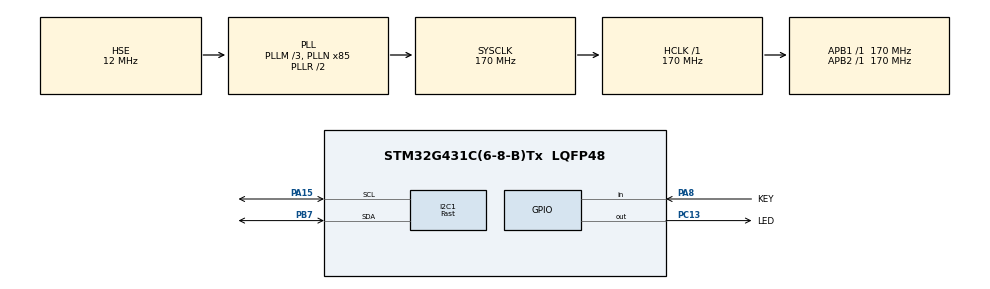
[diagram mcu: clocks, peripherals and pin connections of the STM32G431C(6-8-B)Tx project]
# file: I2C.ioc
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I2C1.AddressingMode=I2C_ADDRESSINGMODE_10BIT
I2C1.Analog_Filter=I2C_ANALOGFILTER_ENABLE
I2C1.CustomTiming=Disabled
I2C1.DualAddressMode=I2C_DUALADDRESS_DISABLE
I2C1.GeneralCallMode=I2C_GENERALCALL_DISABLE
I2C1.I2C_Coeff_DF=0
I2C1.I2C_Fall_Time=0
I2C1.I2C_Rise_Time=0
I2C1.I2C_Speed_Mode=I2C_Fast
I2C1.NoStretchMode=I2C_NOSTRETCH_DISABLE
I2C1.OwnAddress=I2C_ADDRESS
I2C1.Speed=400
I2C1.Timing=0x10802D9B
Mcu.Family=STM32G4
Mcu.Name=STM32G431C(6-8-B)Tx
Mcu.Package=LQFP48
Mcu.UserConstants=I2C_ADDRESS,0x30F
NVIC.PriorityGroup=NVIC_PRIORITYGROUP_4
PA13.Mode=Serial_Wire
PA13.Signal=SYS_JTMS-SWDIO
PA14.Mode=Serial_Wire
PA14.Signal=SYS_JTCK-SWCLK
PA15.GPIO_Pu=GPIO_PULLUP
PA15.Mode=I2C
PA15.Signal=I2C1_SCL
PA8.GPIO_Label=KEY
PA8.GPIO_PuPd=GPIO_PULLUP
PA8.Signal=GPIO_Input
PB7.GPIO_Pu=GPIO_PULLUP
PB7.Mode=I2C
PB7.Signal=I2C1_SDA
PC13.GPIO_Label=LED
PC13.PinState=GPIO_PIN_SET
PC13.Signal=GPIO_Output
PF0-OSC_IN.Mode=HSE-External-Oscillator
PF0-OSC_IN.Signal=RCC_OSC_IN
PF1-OSC_OUT.Mode=HSE-External-Oscillator
PF1-OSC_OUT.Signal=RCC_OSC_OUT
ProjectManager.HeapSize=0x200
ProjectManager.StackSize=0x400
ProjectManager.TargetToolchain=MDK-ARM V5.32
RCC.ADC12Freq_Value=170000000
RCC.AHBFreq_Value=170000000
RCC.APB1Freq_Value=170000000
RCC.APB1TimFreq_Value=170000000
RCC.APB2Freq_Value=170000000
RCC.APB2TimFreq_Value=170000000
RCC.CortexFreq_Value=170000000
RCC.EXTERNAL_CLOCK_VALUE=12288000
RCC.FLatency=FLASH_LATENCY_4
RCC.HCLKFreq_Value=170000000
RCC.HSE_VALUE=12000000
RCC.HSI48_VALUE=48000000
RCC.HSI_VALUE=16000000
RCC.LSE_VALUE=32768
RCC.PLLM=RCC_PLLM_DIV3
RCC.PLLN=85
RCC.PLLSourceVirtual=RCC_PLLSOURCE_HSE
RCC.SYSCLKFreq_VALUE=170000000
RCC.SYSCLKSource=RCC_SYSCLKSOURCE_PLLCLK
RCC.USBFreq_Value=170000000
RCC.VCOOutputFreq_Value=340000000
VP_SYS_VS_DBSignals.Mode=DisableDeadBatterySignals
board=custom

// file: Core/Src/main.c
/* USER CODE BEGIN Header */
/**
  ******************************************************************************
  * @file           : main.c
  * @brief          : Main program body
  ******************************************************************************
  * @attention
  *
  * Copyright (c) 2022 STMicroelectronics.
  * All rights reserved.
  *
  * This software is licensed under terms that can be found in the LICENSE file
  * in the root directory of this software component.
  * If no LICENSE file comes with this software, it is provided AS-IS.
  *
  ******************************************************************************
  */
/* USER CODE END Header */
#include "main.h"
#include "i2c.h"
#include "gpio.h"

/* USER CODE BEGIN PD */
#define MASTER_BOARD

#define I2C_ADDRESS 0x30F

#define COUNTOF(__BUFFER__)   (sizeof(__BUFFER__) / sizeof(*(__BUFFER__)))

/* Size of Transmission buffer */
#define TXBUFFERSIZE                      (COUNTOF(aTxBuffer) - 1)
/* Size of Reception buffer */
#define RXBUFFERSIZE                      TXBUFFERSIZE

/* USER CODE END PD */

/* USER CODE BEGIN PV */
/* Buffer used for transmission */
uint8_t aTxBuffer[] = " ****I2C_TwoBoards communication based on Polling****  ****I2C_TwoBoards communication based on Polling****  ****I2C_TwoBoards communication based on Polling**** ";

/* Buffer used for reception */
uint8_t aRxBuffer[RXBUFFERSIZE];

/* USER CODE END PV */

void SystemClock_Config(void);
/* USER CODE BEGIN PFP */
static uint16_t Buffercmp(uint8_t *pBuffer1, uint8_t *pBuffer2, uint16_t BufferLength);

/* USER CODE END PFP */

int main(void)
{

  /* MCU Configuration--------------------------------------------------------*/

  /* Reset of all peripherals, Initializes the Flash interface and the Systick. */
  HAL_Init();

  /* Configure the system clock */
  SystemClock_Config();

  /* Initialize all configured peripherals */
  MX_GPIO_Init();
  MX_I2C1_Init();
  /* USER CODE BEGIN 2 */

#ifdef MASTER_BOARD

  /* Wait for User push-button press before starting the Communication */
  while (HAL_GPIO_ReadPin(KEY_GPIO_Port, KEY_Pin) != GPIO_PIN_RESET)
	{
  }

  /* Delay to avoid that possible signal rebound is taken as button release */
  HAL_Delay(50);

  /* Wait for User push-button release before starting the Communication */
  while (HAL_GPIO_ReadPin(KEY_GPIO_Port, KEY_Pin) != GPIO_PIN_SET)
  {
  }

  /* The board sends the message and expects to receive it back */

  /*##- Start the transmission process #####################################*/
  /* While the I2C in reception process, user can transmit data through
     "aTxBuffer" buffer */
  /* Timeout is set to 10S */
  while (HAL_I2C_Master_Transmit(&hi2c1, (uint16_t)I2C_ADDRESS, (uint8_t *)aTxBuffer, TXBUFFERSIZE, 10000) != HAL_OK)
  {
    /* Error_Handler() function is called when Timeout error occurs.
       When Acknowledge failure occurs (Slave don't acknowledge its address)
       Master restarts communication */
    if (HAL_I2C_GetError(&hi2c1) != HAL_I2C_ERROR_AF)
    {
      Error_Handler();
    }
  }

  /* Turn LED on: Transfer in Transmission process is correct */
  HAL_GPIO_WritePin(LED_GPIO_Port, LED_Pin, GPIO_PIN_RESET);

  /* Wait for User push-button press before starting the Communication */
  while (HAL_GPIO_ReadPin(KEY_GPIO_Port, KEY_Pin) != GPIO_PIN_RESET)
  {
  }

  /* Delay to avoid that possible signal rebound is taken as button release */
  HAL_Delay(50);

  /* Wait for User push-button release before starting the Communication */
  while (HAL_GPIO_ReadPin(KEY_GPIO_Port, KEY_Pin) != GPIO_PIN_SET)
  {
  }

  /*##- Put I2C peripheral in reception process ############################*/
  /* Timeout is set to 10S */
  while (HAL_I2C_Master_Receive(&hi2c1, (uint16_t)I2C_ADDRESS, (uint8_t *)aRxBuffer, RXBUFFERSIZE, 10000) != HAL_OK)
  {
    /* Error_Handler() function is called when Timeout error occurs.
       When Acknowledge failure occurs (Slave don't acknowledge it's address)
       Master restarts communication */
    if (HAL_I2C_GetError(&hi2c1) != HAL_I2C_ERROR_AF)
    {
      Error_Handler();
    }
  }

  /* Turn LED off: Transfer in reception process is correct */
  HAL_GPIO_WritePin(LED_GPIO_Port, LED_Pin, GPIO_PIN_SET);

#else

  /* The board receives the message and sends it back */

  /*##- Put I2C peripheral in reception process ###########################*/
  /* Timeout is set to 10S  */
  if (HAL_I2C_Slave_Receive(&hi2c1, (uint8_t *)aRxBuffer, RXBUFFERSIZE, 10000) != HAL_OK)
  {
    /* Transfer error in reception process */
    Error_Handler();
  }

  /* Turn LED on: Transfer in reception process is correct */
	HAL_GPIO_WritePin(LED_GPIO_Port, LED_Pin, GPIO_PIN_RESET);

  /*##- Start the transmission process #####################################*/
  /* While the I2C in reception process, user can transmit data through
     "aTxBuffer" buffer */
  /* Timeout is set to 10S */
  if (HAL_I2C_Slave_Transmit(&hi2c1, (uint8_t *)aTxBuffer, TXBUFFERSIZE, 10000) != HAL_OK)
  {
    /* Transfer error in transmission process */
    Error_Handler();
  }

  /* Turn LED off: Transfer in transmission process is correct */
  HAL_GPIO_WritePin(LED_GPIO_Port, LED_Pin, GPIO_PIN_SET);

#endif /* MASTER_BOARD */

  /*##- Compare the sent and received buffers ##############################*/
  if (Buffercmp((uint8_t *)aTxBuffer, (uint8_t *)aRxBuffer, RXBUFFERSIZE))
  {
    /* Processing Error */
    Error_Handler();
  }
  /* USER CODE END 2 */

  /* Infinite loop */
  while (1)
  {

  }
}

void SystemClock_Config(void)
{
  RCC_OscInitTypeDef RCC_OscInitStruct = {0};
  RCC_ClkInitTypeDef RCC_ClkInitStruct = {0};

  /** Configure the main internal regulator output voltage
  */
  HAL_PWREx_ControlVoltageScaling(PWR_REGULATOR_VOLTAGE_SCALE1_BOOST);

  /** Initializes the RCC Oscillators according to the specified parameters
  * in the RCC_OscInitTypeDef structure.
  */
  RCC_OscInitStruct.OscillatorType = RCC_OSCILLATORTYPE_HSE;
  RCC_OscInitStruct.HSEState = RCC_HSE_ON;
  RCC_OscInitStruct.PLL.PLLState = RCC_PLL_ON;
  RCC_OscInitStruct.PLL.PLLSource = RCC_PLLSOURCE_HSE;
  RCC_OscInitStruct.PLL.PLLM = RCC_PLLM_DIV3;
  RCC_OscInitStruct.PLL.PLLN = 85;
  RCC_OscInitStruct.PLL.PLLP = RCC_PLLP_DIV2;
  RCC_OscInitStruct.PLL.PLLQ = RCC_PLLQ_DIV2;
  RCC_OscInitStruct.PLL.PLLR = RCC_PLLR_DIV2;
  if (HAL_RCC_OscConfig(&RCC_OscInitStruct) != HAL_OK)
  {
    Error_Handler();
  }

  /** Initializes the CPU, AHB and APB buses clocks
  */
  RCC_ClkInitStruct.ClockType = RCC_CLOCKTYPE_HCLK|RCC_CLOCKTYPE_SYSCLK
                              |RCC_CLOCKTYPE_PCLK1|RCC_CLOCKTYPE_PCLK2;
  RCC_ClkInitStruct.SYSCLKSource = RCC_SYSCLKSOURCE_PLLCLK;
  RCC_ClkInitStruct.AHBCLKDivider = RCC_SYSCLK_DIV1;
  RCC_ClkInitStruct.APB1CLKDivider = RCC_HCLK_DIV1;
  RCC_ClkInitStruct.APB2CLKDivider = RCC_HCLK_DIV1;

  if (HAL_RCC_ClockConfig(&RCC_ClkInitStruct, FLASH_LATENCY_4) != HAL_OK)
  {
    Error_Handler();
  }
}

/* USER CODE BEGIN 4 */
/**
  * @brief  Compares two buffers.
  * @param  pBuffer1, pBuffer2: buffers to be compared.
  * @param  BufferLength: buffer's length
  * @retval 0  : pBuffer1 identical to pBuffer2
  *         >0 : pBuffer1 differs from pBuffer2
  */
static uint16_t Buffercmp(uint8_t *pBuffer1, uint8_t *pBuffer2, uint16_t BufferLength)
{
  while (BufferLength--)
  {
    if ((*pBuffer1) != *pBuffer2)
    {
      return BufferLength;
    }
    pBuffer1++;
    pBuffer2++;
  }

  return 0;
}
/* USER CODE END 4 */

void Error_Handler(void)
{
  /* USER CODE BEGIN Error_Handler_Debug */
	 while (1)
  {
			HAL_GPIO_WritePin(GPIOC, GPIO_PIN_13, GPIO_PIN_RESET);
      HAL_Delay(100);
      HAL_GPIO_WritePin(GPIOC, GPIO_PIN_13, GPIO_PIN_SET);
      HAL_Delay(2000);
  }
  /* User can add his own implementation to report the HAL error return state */
  __disable_irq();
  while (1)
  {
  }
  /* USER CODE END Error_Handler_Debug */
}
